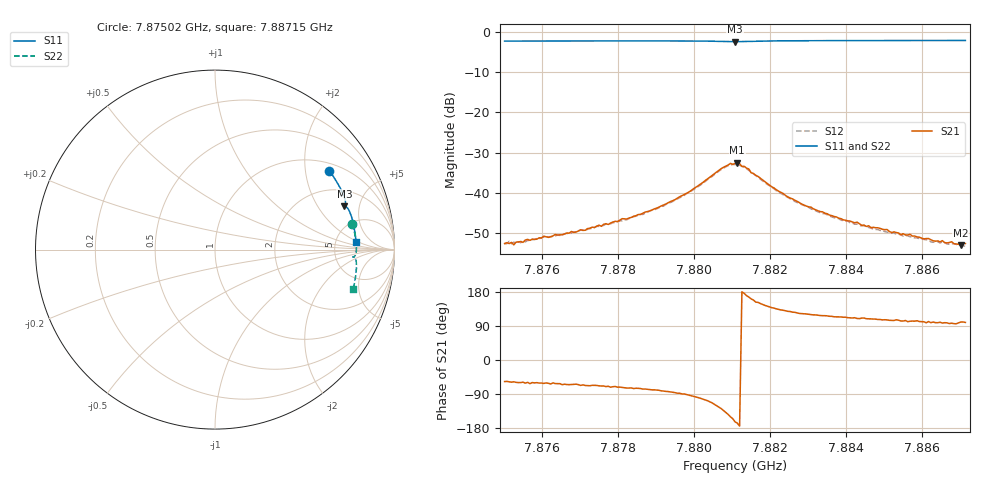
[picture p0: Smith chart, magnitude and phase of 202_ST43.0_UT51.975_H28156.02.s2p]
#  HZ  S  DB  R  50.00
! Rohde & Schwarz Vector Network Analyzer
! Rohde-Schwarz,ZNB20-2Port,1311601062101988,3.16
! Created: UTC 1/12/2023, 6:44:24 PM
! freq[Hz]  db:S11  ang:S11  db:S21  ang:S21  db:S12  ang:S12  db:S22  ang:S22
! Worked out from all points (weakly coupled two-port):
!   201 points, 7.87502 GHz to 7.88715 GHz, reference 50 ohm
!   highest |S21| = -32.52 dB at 7.88114 GHz (marker M1); lowest = -53.1 dB at 7.88703 GHz (marker M2)
!   lowest |S11| = -2.4 dB at 7.88108 GHz (marker M3), VSWR 7.34, Z = 155 + j177 ohm
!   |S11| at or under -10 dB: nowhere
!   |S22| runs from -2.3 to -1.9 dB; largest |S21 - S12| = 0.0022
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7.875017e9  -2.24 34.5  -52.67 -56.9  -52.85 -59.1  -2.17 10.6
7.875138e9  -2.23 34.1  -52.69 -57.4  -52.14 -60.5  -2.16 10.3
7.875198e9  -2.23 34.0  -52.41 -58.5  -52.75 -62.4  -2.17 10.1
7.875259e9  -2.23 33.8  -53.01 -57.4  -52.32 -62.8  -2.17 10.0
7.87532e9  -2.23 33.6  -52.31 -59.0  -52.64 -61.1  -2.16 9.9
7.875502e9  -2.22 33.1  -52.39 -58.5  -51.90 -61.3  -2.16 9.5
7.875623e9  -2.22 32.8  -51.66 -59.0  -51.91 -62.5  -2.15 9.1
7.877079e9  -2.20 28.9  -49.41 -65.6  -49.31 -69.8  -2.11 5.7
7.878231e9  -2.18 25.7  -46.57 -74.0  -46.77 -76.9  -2.09 3.0
7.87908e9  -2.18 23.3  -43.61 -79.9  -43.77 -84.0  -2.08 1.1
7.879869e9  -2.20 21.0  -39.85 -92.6  -39.99 -96.0  -2.09 -0.9
7.880779e9  -2.34 18.6  -33.69 -133.4  -33.90 -136.7  -2.22 -3.1
7.881082e9  -2.38 18.5  -32.72 -163.1  -33.00 -164.7  -2.28 -3.0
7.881143e9  -2.38 18.5  -32.52 -166.7  -33.06 -170.7  -2.27 -2.9
7.881385e9  -2.32 18.3  -33.89 170.0  -34.04 167.6  -2.21 -3.0
7.882416e9  -2.16 15.6  -40.74 129.6  -40.89 126.4  -2.04 -5.2
7.883144e9  -2.13 13.5  -44.04 119.1  -44.24 116.3  -2.00 -7.0
7.884115e9  -2.12 10.9  -47.09 111.3  -47.59 108.0  -1.98 -9.3
7.885146e9  -2.10 8.2  -49.68 104.7  -49.91 102.8  -1.96 -11.5
7.886237e9  -2.09 5.3  -51.74 98.5  -52.28 95.8  -1.95 -13.9
7.887026e9  -2.08 3.2  -53.05 100.3  -53.06 95.0  -1.93 -15.6
7.887147e9  -2.08 2.9  -52.69 99.2  -53.34 92.1  -1.94 -15.9
